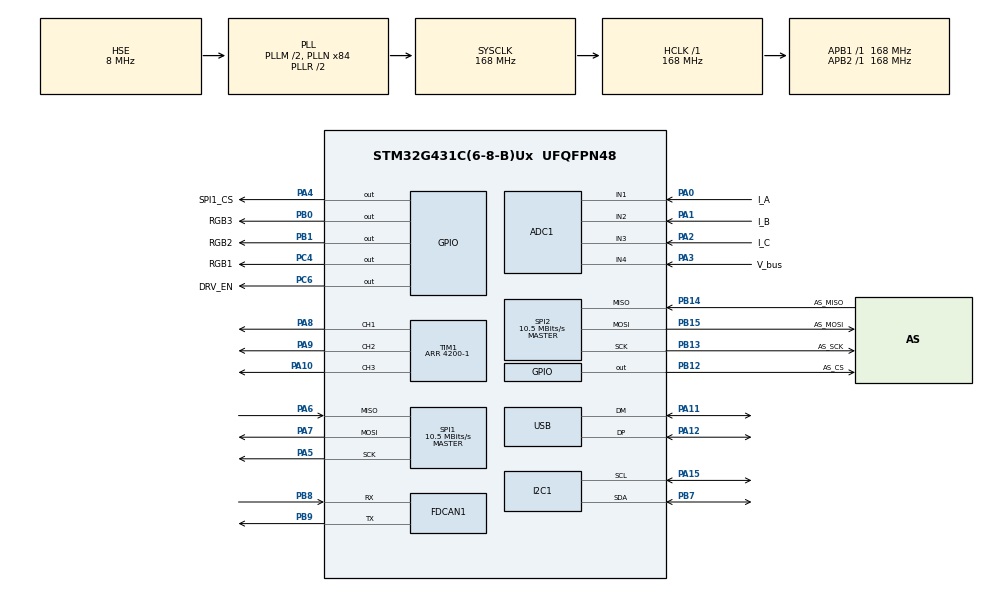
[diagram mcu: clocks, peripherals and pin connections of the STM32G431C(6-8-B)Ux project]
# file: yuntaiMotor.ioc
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ADC1.ClockPrescaler=ADC_CLOCK_ASYNC_DIV12
ADC1.EnableInjectedConversion=ENABLE
ADC1.EnableRegularConversion=DISABLE
ADC1.ExternalTrigInjecConv=ADC_EXTERNALTRIGINJEC_T1_CC4
ADC1.ExternalTrigInjecConvEdge=ADC_EXTERNALTRIGINJECCONV_EDGE_RISINGFALLING
ADC1.InjNumberOfConversion=3
ADC1.InjectedChannel-2\#ChannelInjectedConversion=ADC_CHANNEL_1
ADC1.InjectedChannel-3\#ChannelInjectedConversion=ADC_CHANNEL_2
ADC1.InjectedChannel-4\#ChannelInjectedConversion=ADC_CHANNEL_3
ADC1.InjectedOffsetNumber-2\#ChannelInjectedConversion=ADC_OFFSET_NONE
ADC1.InjectedOffsetNumber-3\#ChannelInjectedConversion=ADC_OFFSET_NONE
ADC1.InjectedOffsetNumber-4\#ChannelInjectedConversion=ADC_OFFSET_NONE
ADC1.InjectedRank-2\#ChannelInjectedConversion=1
ADC1.InjectedRank-3\#ChannelInjectedConversion=2
ADC1.InjectedRank-4\#ChannelInjectedConversion=3
ADC1.InjectedSamplingTime-2\#ChannelInjectedConversion=ADC_SAMPLETIME_12CYCLES_5
ADC1.InjectedSamplingTime-3\#ChannelInjectedConversion=ADC_SAMPLETIME_12CYCLES_5
ADC1.InjectedSamplingTime-4\#ChannelInjectedConversion=ADC_SAMPLETIME_12CYCLES_5
ADC1.Rank1_Channel=ADC_CHANNEL_1
ADC1.Rank2_Channel=ADC_CHANNEL_2
ADC1.Rank3_Channel=ADC_CHANNEL_3
ADC1.Rank4_Channel=ADC_CHANNEL_1
ADC1.master=1
FDCAN1.CalculateBaudRateNominal=2100000
FDCAN1.CalculateTimeBitNominal=476
FDCAN1.CalculateTimeQuantumNominal=95.23809523809524
I2C1.Timing=0x60505F8C
Mcu.Family=STM32G4
Mcu.Name=STM32G431C(6-8-B)Ux
Mcu.Package=UFQFPN48
NVIC.ADC1_2_IRQn=true\:0\:0\:false\:false\:true\:true\:true\:true
NVIC.PriorityGroup=NVIC_PRIORITYGROUP_4
NVIC.TIM6_DAC_IRQn=true\:1\:0\:true\:false\:true\:true\:true\:true
NVIC.USB_LP_IRQn=true\:0\:0\:false\:false\:true\:false\:true\:true
PA0.GPIO_Label=I_A
PA0.Mode=IN1-Single-Ended
PA0.Signal=ADC1_IN1
PA1.GPIO_Label=I_B
PA1.Mode=IN2-Single-Ended
PA1.Signal=ADC1_IN2
PA10.Signal=S_TIM1_CH3
PA11.Mode=Device
PA11.Signal=USB_DM
PA12.Mode=Device
PA12.Signal=USB_DP
PA13.Mode=Serial_Wire
PA13.Signal=SYS_JTMS-SWDIO
PA14.Mode=Serial_Wire
PA14.Signal=SYS_JTCK-SWCLK
PA15.Mode=I2C
PA15.Signal=I2C1_SCL
PA2.GPIO_Label=I_C
PA2.Mode=IN3-Single-Ended
PA2.Signal=ADC1_IN3
PA3.GPIO_Label=V_bus
PA3.Mode=IN4-Single-Ended
PA3.Signal=ADC1_IN4
PA4.GPIO_Label=SPI1_CS
PA4.Signal=GPIO_Output
PA5.Mode=Full_Duplex_Master
PA5.Signal=SPI1_SCK
PA6.Mode=Full_Duplex_Master
PA6.Signal=SPI1_MISO
PA7.Mode=Full_Duplex_Master
PA7.Signal=SPI1_MOSI
PA8.Signal=S_TIM1_CH1
PA9.Signal=S_TIM1_CH2
PB0.GPIO_Label=RGB3
PB0.Signal=GPIO_Output
PB1.GPIO_Label=RGB2
PB1.Signal=GPIO_Output
PB12.GPIO_Label=AS_CS
PB12.Signal=GPIO_Output
PB13.GPIO_Label=AS_SCK
PB13.Mode=Full_Duplex_Master
PB13.Signal=SPI2_SCK
PB14.GPIO_Label=AS_MISO
PB14.Mode=Full_Duplex_Master
PB14.Signal=SPI2_MISO
PB15.GPIO_Label=AS_MOSI
PB15.Mode=Full_Duplex_Master
PB15.Signal=SPI2_MOSI
PB7.Mode=I2C
PB7.Signal=I2C1_SDA
PB8-BOOT0.Mode=FDCAN_Activate
PB8-BOOT0.Signal=FDCAN1_RX
PB9.Mode=FDCAN_Activate
PB9.Signal=FDCAN1_TX
PC4.GPIO_Label=RGB1
PC4.Signal=GPIO_Output
PC6.GPIO_Label=DRV_EN
PC6.Signal=GPIO_Output
PF0-OSC_IN.Mode=HSE-External-Clock-Source
PF0-OSC_IN.Signal=RCC_OSC_IN
ProjectManager.HeapSize=0x200
ProjectManager.StackSize=0x400
ProjectManager.TargetToolchain=MDK-ARM V5.32
RCC.ADC12Freq_Value=168000000
RCC.AHBFreq_Value=168000000
RCC.APB1Freq_Value=168000000
RCC.APB1TimFreq_Value=168000000
RCC.APB2Freq_Value=168000000
RCC.APB2TimFreq_Value=168000000
RCC.CK48CLockSelection=RCC_USBCLKSOURCE_HSI48
RCC.CortexFreq_Value=168000000
RCC.EXTERNAL_CLOCK_VALUE=12288000
RCC.HCLKFreq_Value=168000000
RCC.HSE_VALUE=8000000
RCC.HSI48_VALUE=48000000
RCC.HSI_VALUE=16000000
RCC.LSE_VALUE=32768
RCC.PLLM=RCC_PLLM_DIV2
RCC.PLLN=84
RCC.PLLP=RCC_PLLP_DIV28
RCC.PLLSourceVirtual=RCC_PLLSOURCE_HSE
RCC.SYSCLKFreq_VALUE=168000000
RCC.SYSCLKSource=RCC_SYSCLKSOURCE_PLLCLK
RCC.USBFreq_Value=48000000
RCC.VCOOutputFreq_Value=336000000
SH.S_TIM1_CH1.0=TIM1_CH1,PWM Generation1 CH1
SH.S_TIM1_CH2.0=TIM1_CH2,PWM Generation2 CH2
SH.S_TIM1_CH3.0=TIM1_CH3,PWM Generation3 CH3
SPI1.BaudRatePrescaler=SPI_BAUDRATEPRESCALER_16
SPI1.CalculateBaudRate=10.5 MBits/s
SPI1.Direction=SPI_DIRECTION_2LINES
SPI1.Mode=SPI_MODE_MASTER
SPI1.VirtualType=VM_MASTER
SPI2.BaudRatePrescaler=SPI_BAUDRATEPRESCALER_16
SPI2.CLKPhase=SPI_PHASE_2EDGE
SPI2.CalculateBaudRate=10.5 MBits/s
SPI2.DataSize=SPI_DATASIZE_16BIT
SPI2.Direction=SPI_DIRECTION_2LINES
SPI2.Mode=SPI_MODE_MASTER
SPI2.VirtualType=VM_MASTER
TIM1.Channel-PWM\ Generation1\ CH1=TIM_CHANNEL_1
TIM1.Channel-PWM\ Generation2\ CH2=TIM_CHANNEL_2
TIM1.Channel-PWM\ Generation3\ CH3=TIM_CHANNEL_3
TIM1.Channel-PWM\ Generation4\ No\ Output=TIM_CHANNEL_4
TIM1.CounterMode=TIM_COUNTERMODE_CENTERALIGNED1
TIM1.OCMode_PWM-PWM\ Generation1\ CH1=TIM_OCMODE_PWM2
TIM1.OCMode_PWM-PWM\ Generation2\ CH2=TIM_OCMODE_PWM2
TIM1.OCMode_PWM-PWM\ Generation3\ CH3=TIM_OCMODE_PWM2
TIM1.OCMode_PWM-PWM\ Generation4\ No\ Output=TIM_OCMODE_PWM2
TIM1.PeriodNoDither=4200-1
TIM6.PeriodNoDither=20000
TIM6.Prescaler=16800
USB_DEVICE.CLASS_NAME_FS=CDC
USB_DEVICE.VirtualMode=Cdc
USB_DEVICE.VirtualModeFS=Cdc_FS
VP_SYS_VS_DBSignals.Mode=DisableDeadBatterySignals
VP_TIM1_VS_ClockSourceINT.Mode=Internal
VP_TIM1_VS_no_output4.Mode=PWM Generation4 No Output
VP_TIM6_VS_ClockSourceINT.Mode=Enable_Timer
VP_USB_DEVICE_VS_USB_DEVICE_CDC_FS.Mode=CDC_FS
board=custom

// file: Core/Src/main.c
/* USER CODE BEGIN Header */
/**
  ******************************************************************************
  * @file           : main.c
  * @brief          : Main program body
  ******************************************************************************
  * @attention
  *
  * Copyright (c) 2024 STMicroelectronics.
  * All rights reserved.
  *
  * This software is licensed under terms that can be found in the LICENSE file
  * in the root directory of this software component.
  * If no LICENSE file comes with this software, it is provided AS-IS.
  *
  ******************************************************************************
  */
/* USER CODE END Header */
#include "main.h"
#include "usb_device.h"

/* USER CODE BEGIN Includes */
#include "usb_device.h"
#include "FocCtr.h"
/* USER CODE END Includes */

/* USER CODE BEGIN PTD */
extern uint8_t CDC_Transmit_FS(uint8_t* Buf, uint16_t Len);
void Get_Aagel()	;
uint8_t isready=0;
float Angel_Now_1;
void SVPWM()
{

	Park_change_Contrary();//反Park变换
	sector_judg();//扇区判断
	TIM1->CCR1 =  (uint16_t)ta;
	TIM1->CCR2 =  (uint16_t)tb;
	TIM1->CCR3 =  (uint16_t)tc;

}

/* USER CODE END PTD */

ADC_HandleTypeDef hadc1;

FDCAN_HandleTypeDef hfdcan1;

I2C_HandleTypeDef hi2c1;

SPI_HandleTypeDef hspi1;
SPI_HandleTypeDef hspi2;

TIM_HandleTypeDef htim1;
TIM_HandleTypeDef htim6;

/* USER CODE BEGIN PV */
uint16_t SPI_recive_data,SPI_send_data,Angel_begin;

int16_t enc;
void Get_Aagel()
{
	SPI_send_data|=0x3fff;
	AS_CS_L
	HAL_SPI_TransmitReceive(&hspi2,(uint8_t*)&SPI_send_data,(uint8_t*)&SPI_recive_data,1,100);
	SPI_recive_data &= 0x3fff;
	AS_CS_H

	if(isready==0)
	{
		Angel_begin=SPI_recive_data;

	}
		enc = SPI_recive_data - Angel_begin;
		if(enc<0) enc += 16384;

}
/* USER CODE END PV */

void SystemClock_Config(void);
static void MX_GPIO_Init(void);
static void MX_ADC1_Init(void);
static void MX_FDCAN1_Init(void);
static void MX_I2C1_Init(void);
static void MX_SPI1_Init(void);
static void MX_SPI2_Init(void);
static void MX_TIM1_Init(void);
static void MX_TIM6_Init(void);

/* USER CODE BEGIN 0 */

void Pid_Param_init()
{
	Iq_current.P   =  5;
	Iq_current.I   =  0.0807;

	Speed_ctl.P    =  -2;
	Speed_ctl.I    =  -0.001;
//
  Position_ctl.P =   2;                                        ;
//	Position_ctl.I =   0;
}

bool rgb;
void HAL_TIM_PeriodElapsedCallback(TIM_HandleTypeDef *htim)// 100ms
{
	if(htim == &htim6)  //判断中断是否来自于定时器1
   {
			__HAL_TIM_CLEAR_FLAG(&htim6,TIM_FLAG_UPDATE);
		  rgb=!rgb;
		 	HAL_GPIO_WritePin(RGB1_GPIO_Port, RGB1_Pin, rgb);
	  	HAL_GPIO_WritePin(GPIOB, RGB3_Pin, 0);
		  HAL_GPIO_WritePin(GPIOB, RGB2_Pin, 0);
		// Position_ctl.target+=0.1;

   }
}
uint8_t times2,times4;

void HAL_ADCEx_InjectedConvCpltCallback(ADC_HandleTypeDef* hadc)
 {

		if(hadc == &hadc1 && isready == 1)
		{
				Get_Aagel();

				MeasurePosVel(enc,&pos_vel);//Odrive计算当前角度以及速度
				Klark_change();

				times2++;
				times4++;

				Uq=Iq_current_loop();
				Ud=Id_current_loop();

			  if(Uq>10) 					Uq = 10;
				else if(Uq < -10) 	Uq = -10;

				if(Ud>5) 					Ud= 5;
				else if(Ud <-5)  	Ud= -5;

					if(times2==2)
					{

						Iq_Target=speed_loop();
						times2=0;

					}
					if(times4==4)
					{
							position_loop();

					}

				SVPWM();

				my_data.DATA[0]   = Position_ctl.target;
				my_data.DATA[1]   = pos_vel.pos;
				my_data.DATA[2]   = hadc1.Instance->JDR3;

				my_data.DATA[3]   = pos_vel.vel;
				my_data.DATA[4]   = Ud;
				my_data.DATA[5]   = Id_ref;
				my_data.DATA[6]   = Iq_ref;

				CDC_Transmit_FS((uint8_t*)&my_data, sizeof(my_data));
		}
}

/* USER CODE END 0 */

int main(void)
{

  /* MCU Configuration--------------------------------------------------------*/

  /* Reset of all peripherals, Initializes the Flash interface and the Systick. */
  HAL_Init();

  /* USER CODE BEGIN Init */
		my_data.tail[0]=0x00;
		my_data.tail[1]=0x00;
		my_data.tail[2]=0x80;
		my_data.tail[3]=0x7F;
  /* USER CODE END Init */

  /* Configure the system clock */
  SystemClock_Config();

  /* Initialize all configured peripherals */
  MX_GPIO_Init();
  MX_ADC1_Init();
  MX_FDCAN1_Init();
  MX_I2C1_Init();
  MX_SPI1_Init();
  MX_SPI2_Init();
  MX_TIM1_Init();
  MX_TIM6_Init();
  MX_USB_Device_Init();
  /* USER CODE BEGIN 2 */
	Pid_Param_init();

 TIM1->CCR4=5;
 HAL_TIM_Base_Start_IT(&htim6);
 HAL_TIM_PWM_Start(&htim1,TIM_CHANNEL_1);
 HAL_TIM_PWM_Start(&htim1,TIM_CHANNEL_2);
 HAL_TIM_PWM_Start(&htim1,TIM_CHANNEL_3);
 HAL_TIM_PWM_Start(&htim1,TIM_CHANNEL_4);

  HAL_ADCEx_Calibration_Start(&hadc1,ADC_SINGLE_ENDED);
  HAL_ADCEx_InjectedStart(&hadc1);
 __HAL_ADC_ENABLE_IT(&hadc1,ADC_IT_JEOC);

  /* USER CODE END 2 */

  /* Infinite loop */
  while (1)
  {

    /* USER CODE BEGIN 3 */
		if(isready == 0)
		{

			HAL_Delay(2000);
			DRV_EN_H;
		  Get_Aagel();
			Ud=4.0f;
			Uq=0;
			SVPWM();
			HAL_Delay(2000);
			Get_Aagel();
			Ud=0;
			isready=1;

		}

  }
  /* USER CODE END 3 */
}

void SystemClock_Config(void)
{
  RCC_OscInitTypeDef RCC_OscInitStruct = {0};
  RCC_ClkInitTypeDef RCC_ClkInitStruct = {0};

  /** Configure the main internal regulator output voltage
  */
  HAL_PWREx_ControlVoltageScaling(PWR_REGULATOR_VOLTAGE_SCALE1_BOOST);

  /** Initializes the RCC Oscillators according to the specified parameters
  * in the RCC_OscInitTypeDef structure.
  */
  RCC_OscInitStruct.OscillatorType = RCC_OSCILLATORTYPE_HSI48|RCC_OSCILLATORTYPE_HSE;
  RCC_OscInitStruct.HSEState = RCC_HSE_BYPASS;
  RCC_OscInitStruct.HSI48State = RCC_HSI48_ON;
  RCC_OscInitStruct.PLL.PLLState = RCC_PLL_ON;
  RCC_OscInitStruct.PLL.PLLSource = RCC_PLLSOURCE_HSE;
  RCC_OscInitStruct.PLL.PLLM = RCC_PLLM_DIV2;
  RCC_OscInitStruct.PLL.PLLN = 84;
  RCC_OscInitStruct.PLL.PLLP = RCC_PLLP_DIV28;
  RCC_OscInitStruct.PLL.PLLQ = RCC_PLLQ_DIV2;
  RCC_OscInitStruct.PLL.PLLR = RCC_PLLR_DIV2;
  if (HAL_RCC_OscConfig(&RCC_OscInitStruct) != HAL_OK)
  {
    Error_Handler();
  }

  /** Initializes the CPU, AHB and APB buses clocks
  */
  RCC_ClkInitStruct.ClockType = RCC_CLOCKTYPE_HCLK|RCC_CLOCKTYPE_SYSCLK
                              |RCC_CLOCKTYPE_PCLK1|RCC_CLOCKTYPE_PCLK2;
  RCC_ClkInitStruct.SYSCLKSource = RCC_SYSCLKSOURCE_PLLCLK;
  RCC_ClkInitStruct.AHBCLKDivider = RCC_SYSCLK_DIV1;
  RCC_ClkInitStruct.APB1CLKDivider = RCC_HCLK_DIV1;
  RCC_ClkInitStruct.APB2CLKDivider = RCC_HCLK_DIV1;

  if (HAL_RCC_ClockConfig(&RCC_ClkInitStruct, FLASH_LATENCY_4) != HAL_OK)
  {
    Error_Handler();
  }
}

static void MX_ADC1_Init(void)
{

  ADC_MultiModeTypeDef multimode = {0};
  ADC_InjectionConfTypeDef sConfigInjected = {0};

  /** Common config
  */
  hadc1.Instance = ADC1;
  hadc1.Init.ClockPrescaler = ADC_CLOCK_ASYNC_DIV12;
  hadc1.Init.Resolution = ADC_RESOLUTION_12B;
  hadc1.Init.DataAlign = ADC_DATAALIGN_RIGHT;
  hadc1.Init.GainCompensation = 0;
  hadc1.Init.ScanConvMode = ADC_SCAN_ENABLE;
  hadc1.Init.EOCSelection = ADC_EOC_SINGLE_CONV;
  hadc1.Init.LowPowerAutoWait = DISABLE;
  hadc1.Init.ContinuousConvMode = DISABLE;
  hadc1.Init.NbrOfConversion = 1;
  hadc1.Init.DiscontinuousConvMode = DISABLE;
  hadc1.Init.DMAContinuousRequests = DISABLE;
  hadc1.Init.Overrun = ADC_OVR_DATA_PRESERVED;
  hadc1.Init.OversamplingMode = DISABLE;
  if (HAL_ADC_Init(&hadc1) != HAL_OK)
  {
    Error_Handler();
  }

  /** Configure the ADC multi-mode
  */
  multimode.Mode = ADC_MODE_INDEPENDENT;
  if (HAL_ADCEx_MultiModeConfigChannel(&hadc1, &multimode) != HAL_OK)
  {
    Error_Handler();
  }

  /** Configure Injected Channel
  */
  sConfigInjected.InjectedChannel = ADC_CHANNEL_1;
  sConfigInjected.InjectedRank = ADC_INJECTED_RANK_1;
  sConfigInjected.InjectedSamplingTime = ADC_SAMPLETIME_12CYCLES_5;
  sConfigInjected.InjectedSingleDiff = ADC_SINGLE_ENDED;
  sConfigInjected.InjectedOffsetNumber = ADC_OFFSET_NONE;
  sConfigInjected.InjectedOffset = 0;
  sConfigInjected.InjectedNbrOfConversion = 3;
  sConfigInjected.InjectedDiscontinuousConvMode = DISABLE;
  sConfigInjected.AutoInjectedConv = DISABLE;
  sConfigInjected.QueueInjectedContext = DISABLE;
  sConfigInjected.ExternalTrigInjecConv = ADC_EXTERNALTRIGINJEC_T1_CC4;
  sConfigInjected.ExternalTrigInjecConvEdge = ADC_EXTERNALTRIGINJECCONV_EDGE_RISINGFALLING;
  sConfigInjected.InjecOversamplingMode = DISABLE;
  if (HAL_ADCEx_InjectedConfigChannel(&hadc1, &sConfigInjected) != HAL_OK)
  {
    Error_Handler();
  }

  /** Configure Injected Channel
  */
  sConfigInjected.InjectedChannel = ADC_CHANNEL_2;
  sConfigInjected.InjectedRank = ADC_INJECTED_RANK_2;
  if (HAL_ADCEx_InjectedConfigChannel(&hadc1, &sConfigInjected) != HAL_OK)
  {
    Error_Handler();
  }

  /** Configure Injected Channel
  */
  sConfigInjected.InjectedChannel = ADC_CHANNEL_3;
  sConfigInjected.InjectedRank = ADC_INJECTED_RANK_3;
  if (HAL_ADCEx_InjectedConfigChannel(&hadc1, &sConfigInjected) != HAL_OK)
  {
    Error_Handler();
  }

}

static void MX_FDCAN1_Init(void)
{

  hfdcan1.Instance = FDCAN1;
  hfdcan1.Init.ClockDivider = FDCAN_CLOCK_DIV1;
  hfdcan1.Init.FrameFormat = FDCAN_FRAME_CLASSIC;
  hfdcan1.Init.Mode = FDCAN_MODE_NORMAL;
  hfdcan1.Init.AutoRetransmission = DISABLE;
  hfdcan1.Init.TransmitPause = DISABLE;
  hfdcan1.Init.ProtocolException = DISABLE;
  hfdcan1.Init.NominalPrescaler = 16;
  hfdcan1.Init.NominalSyncJumpWidth = 1;
  hfdcan1.Init.NominalTimeSeg1 = 2;
  hfdcan1.Init.NominalTimeSeg2 = 2;
  hfdcan1.Init.DataPrescaler = 1;
  hfdcan1.Init.DataSyncJumpWidth = 1;
  hfdcan1.Init.DataTimeSeg1 = 1;
  hfdcan1.Init.DataTimeSeg2 = 1;
  hfdcan1.Init.StdFiltersNbr = 0;
  hfdcan1.Init.ExtFiltersNbr = 0;
  hfdcan1.Init.TxFifoQueueMode = FDCAN_TX_FIFO_OPERATION;
  if (HAL_FDCAN_Init(&hfdcan1) != HAL_OK)
  {
    Error_Handler();
  }

}

static void MX_I2C1_Init(void)
{

  hi2c1.Instance = I2C1;
  hi2c1.Init.Timing = 0x60505F8C;
  hi2c1.Init.OwnAddress1 = 0;
  hi2c1.Init.AddressingMode = I2C_ADDRESSINGMODE_7BIT;
  hi2c1.Init.DualAddressMode = I2C_DUALADDRESS_DISABLE;
  hi2c1.Init.OwnAddress2 = 0;
  hi2c1.Init.OwnAddress2Masks = I2C_OA2_NOMASK;
  hi2c1.Init.GeneralCallMode = I2C_GENERALCALL_DISABLE;
  hi2c1.Init.NoStretchMode = I2C_NOSTRETCH_DISABLE;
  if (HAL_I2C_Init(&hi2c1) != HAL_OK)
  {
    Error_Handler();
  }

  /** Configure Analogue filter
  */
  if (HAL_I2CEx_ConfigAnalogFilter(&hi2c1, I2C_ANALOGFILTER_ENABLE) != HAL_OK)
  {
    Error_Handler();
  }

  /** Configure Digital filter
  */
  if (HAL_I2CEx_ConfigDigitalFilter(&hi2c1, 0) != HAL_OK)
  {
    Error_Handler();
  }

}

static void MX_SPI1_Init(void)
{

  /* SPI1 parameter configuration*/
  hspi1.Instance = SPI1;
  hspi1.Init.Mode = SPI_MODE_MASTER;
  hspi1.Init.Direction = SPI_DIRECTION_2LINES;
  hspi1.Init.DataSize = SPI_DATASIZE_4BIT;
  hspi1.Init.CLKPolarity = SPI_POLARITY_LOW;
  hspi1.Init.CLKPhase = SPI_PHASE_1EDGE;
  hspi1.Init.NSS = SPI_NSS_SOFT;
  hspi1.Init.BaudRatePrescaler = SPI_BAUDRATEPRESCALER_16;
  hspi1.Init.FirstBit = SPI_FIRSTBIT_MSB;
  hspi1.Init.TIMode = SPI_TIMODE_DISABLE;
  hspi1.Init.CRCCalculation = SPI_CRCCALCULATION_DISABLE;
  hspi1.Init.CRCPolynomial = 7;
  hspi1.Init.CRCLength = SPI_CRC_LENGTH_DATASIZE;
  hspi1.Init.NSSPMode = SPI_NSS_PULSE_ENABLE;
  if (HAL_SPI_Init(&hspi1) != HAL_OK)
  {
    Error_Handler();
  }

}

static void MX_SPI2_Init(void)
{

  /* SPI2 parameter configuration*/
  hspi2.Instance = SPI2;
  hspi2.Init.Mode = SPI_MODE_MASTER;
  hspi2.Init.Direction = SPI_DIRECTION_2LINES;
  hspi2.Init.DataSize = SPI_DATASIZE_16BIT;
  hspi2.Init.CLKPolarity = SPI_POLARITY_LOW;
  hspi2.Init.CLKPhase = SPI_PHASE_2EDGE;
  hspi2.Init.NSS = SPI_NSS_SOFT;
  hspi2.Init.BaudRatePrescaler = SPI_BAUDRATEPRESCALER_16;
  hspi2.Init.FirstBit = SPI_FIRSTBIT_MSB;
  hspi2.Init.TIMode = SPI_TIMODE_DISABLE;
  hspi2.Init.CRCCalculation = SPI_CRCCALCULATION_DISABLE;
  hspi2.Init.CRCPolynomial = 7;
  hspi2.Init.CRCLength = SPI_CRC_LENGTH_DATASIZE;
  hspi2.Init.NSSPMode = SPI_NSS_PULSE_DISABLE;
  if (HAL_SPI_Init(&hspi2) != HAL_OK)
  {
    Error_Handler();
  }

}

static void MX_TIM1_Init(void)
{

  TIM_ClockConfigTypeDef sClockSourceConfig = {0};
  TIM_MasterConfigTypeDef sMasterConfig = {0};
  TIM_OC_InitTypeDef sConfigOC = {0};
  TIM_BreakDeadTimeConfigTypeDef sBreakDeadTimeConfig = {0};

  htim1.Instance = TIM1;
  htim1.Init.Prescaler = 0;
  htim1.Init.CounterMode = TIM_COUNTERMODE_CENTERALIGNED1;
  htim1.Init.Period = 4199;
  htim1.Init.ClockDivision = TIM_CLOCKDIVISION_DIV1;
  htim1.Init.RepetitionCounter = 0;
  htim1.Init.AutoReloadPreload = TIM_AUTORELOAD_PRELOAD_DISABLE;
  if (HAL_TIM_Base_Init(&htim1) != HAL_OK)
  {
    Error_Handler();
  }
  sClockSourceConfig.ClockSource = TIM_CLOCKSOURCE_INTERNAL;
  if (HAL_TIM_ConfigClockSource(&htim1, &sClockSourceConfig) != HAL_OK)
  {
    Error_Handler();
  }
  if (HAL_TIM_PWM_Init(&htim1) != HAL_OK)
  {
    Error_Handler();
  }
  sMasterConfig.MasterOutputTrigger = TIM_TRGO_RESET;
  sMasterConfig.MasterOutputTrigger2 = TIM_TRGO2_RESET;
  sMasterConfig.MasterSlaveMode = TIM_MASTERSLAVEMODE_DISABLE;
  if (HAL_TIMEx_MasterConfigSynchronization(&htim1, &sMasterConfig) != HAL_OK)
  {
    Error_Handler();
  }
  sConfigOC.OCMode = TIM_OCMODE_PWM2;
  sConfigOC.Pulse = 0;
  sConfigOC.OCPolarity = TIM_OCPOLARITY_HIGH;
  sConfigOC.OCNPolarity = TIM_OCNPOLARITY_HIGH;
  sConfigOC.OCFastMode = TIM_OCFAST_DISABLE;
  sConfigOC.OCIdleState = TIM_OCIDLESTATE_RESET;
  sConfigOC.OCNIdleState = TIM_OCNIDLESTATE_RESET;
  if (HAL_TIM_PWM_ConfigChannel(&htim1, &sConfigOC, TIM_CHANNEL_1) != HAL_OK)
  {
    Error_Handler();
  }
  if (HAL_TIM_PWM_ConfigChannel(&htim1, &sConfigOC, TIM_CHANNEL_2) != HAL_OK)
  {
    Error_Handler();
  }
  if (HAL_TIM_PWM_ConfigChannel(&htim1, &sConfigOC, TIM_CHANNEL_3) != HAL_OK)
  {
    Error_Handler();
  }
  if (HAL_TIM_PWM_ConfigChannel(&htim1, &sConfigOC, TIM_CHANNEL_4) != HAL_OK)
  {
    Error_Handler();
  }
  sBreakDeadTimeConfig.OffStateRunMode = TIM_OSSR_DISABLE;
  sBreakDeadTimeConfig.OffStateIDLEMode = TIM_OSSI_DISABLE;
  sBreakDeadTimeConfig.LockLevel = TIM_LOCKLEVEL_OFF;
  sBreakDeadTimeConfig.DeadTime = 0;
  sBreakDeadTimeConfig.BreakState = TIM_BREAK_DISABLE;
  sBreakDeadTimeConfig.BreakPolarity = TIM_BREAKPOLARITY_HIGH;
  sBreakDeadTimeConfig.BreakFilter = 0;
  sBreakDeadTimeConfig.BreakAFMode = TIM_BREAK_AFMODE_INPUT;
  sBreakDeadTimeConfig.Break2State = TIM_BREAK2_DISABLE;
  sBreakDeadTimeConfig.Break2Polarity = TIM_BREAK2POLARITY_HIGH;
  sBreakDeadTimeConfig.Break2Filter = 0;
  sBreakDeadTimeConfig.Break2AFMode = TIM_BREAK_AFMODE_INPUT;
  sBreakDeadTimeConfig.AutomaticOutput = TIM_AUTOMATICOUTPUT_DISABLE;
  if (HAL_TIMEx_ConfigBreakDeadTime(&htim1, &sBreakDeadTimeConfig) != HAL_OK)
  {
    Error_Handler();
  }
  HAL_TIM_MspPostInit(&htim1);

}

static void MX_TIM6_Init(void)
{

  TIM_MasterConfigTypeDef sMasterConfig = {0};

  htim6.Instance = TIM6;
  htim6.Init.Prescaler = 16800;
  htim6.Init.CounterMode = TIM_COUNTERMODE_UP;
  htim6.Init.Period = 20000;
  htim6.Init.AutoReloadPreload = TIM_AUTORELOAD_PRELOAD_DISABLE;
  if (HAL_TIM_Base_Init(&htim6) != HAL_OK)
  {
    Error_Handler();
  }
  sMasterConfig.MasterOutputTrigger = TIM_TRGO_RESET;
  sMasterConfig.MasterSlaveMode = TIM_MASTERSLAVEMODE_DISABLE;
  if (HAL_TIMEx_MasterConfigSynchronization(&htim6, &sMasterConfig) != HAL_OK)
  {
    Error_Handler();
  }

}

static void MX_GPIO_Init(void)
{
  GPIO_InitTypeDef GPIO_InitStruct = {0};

  /* GPIO Ports Clock Enable */
  __HAL_RCC_GPIOF_CLK_ENABLE();
  __HAL_RCC_GPIOA_CLK_ENABLE();
  __HAL_RCC_GPIOC_CLK_ENABLE();
  __HAL_RCC_GPIOB_CLK_ENABLE();

  /*Configure GPIO pin Output Level */
  HAL_GPIO_WritePin(SPI1_CS_GPIO_Port, SPI1_CS_Pin, GPIO_PIN_RESET);

  /*Configure GPIO pin Output Level */
  HAL_GPIO_WritePin(GPIOC, RGB1_Pin|DRV_EN_Pin, GPIO_PIN_RESET);

  /*Configure GPIO pin Output Level */
  HAL_GPIO_WritePin(GPIOB, RGB3_Pin|RGB2_Pin|AS_CS_Pin, GPIO_PIN_RESET);

  /*Configure GPIO pin : SPI1_CS_Pin */
  GPIO_InitStruct.Pin = SPI1_CS_Pin;
  GPIO_InitStruct.Mode = GPIO_MODE_OUTPUT_PP;
  GPIO_InitStruct.Pull = GPIO_NOPULL;
  GPIO_InitStruct.Speed = GPIO_SPEED_FREQ_LOW;
  HAL_GPIO_Init(SPI1_CS_GPIO_Port, &GPIO_InitStruct);

  /*Configure GPIO pins : RGB1_Pin DRV_EN_Pin */
  GPIO_InitStruct.Pin = RGB1_Pin|DRV_EN_Pin;
  GPIO_InitStruct.Mode = GPIO_MODE_OUTPUT_PP;
  GPIO_InitStruct.Pull = GPIO_NOPULL;
  GPIO_InitStruct.Speed = GPIO_SPEED_FREQ_LOW;
  HAL_GPIO_Init(GPIOC, &GPIO_InitStruct);

  /*Configure GPIO pins : RGB3_Pin RGB2_Pin AS_CS_Pin */
  GPIO_InitStruct.Pin = RGB3_Pin|RGB2_Pin|AS_CS_Pin;
  GPIO_InitStruct.Mode = GPIO_MODE_OUTPUT_PP;
  GPIO_InitStruct.Pull = GPIO_NOPULL;
  GPIO_InitStruct.Speed = GPIO_SPEED_FREQ_LOW;
  HAL_GPIO_Init(GPIOB, &GPIO_InitStruct);

}

void Error_Handler(void)
{
  __disable_irq();
  while (1)
  {
  }
}
